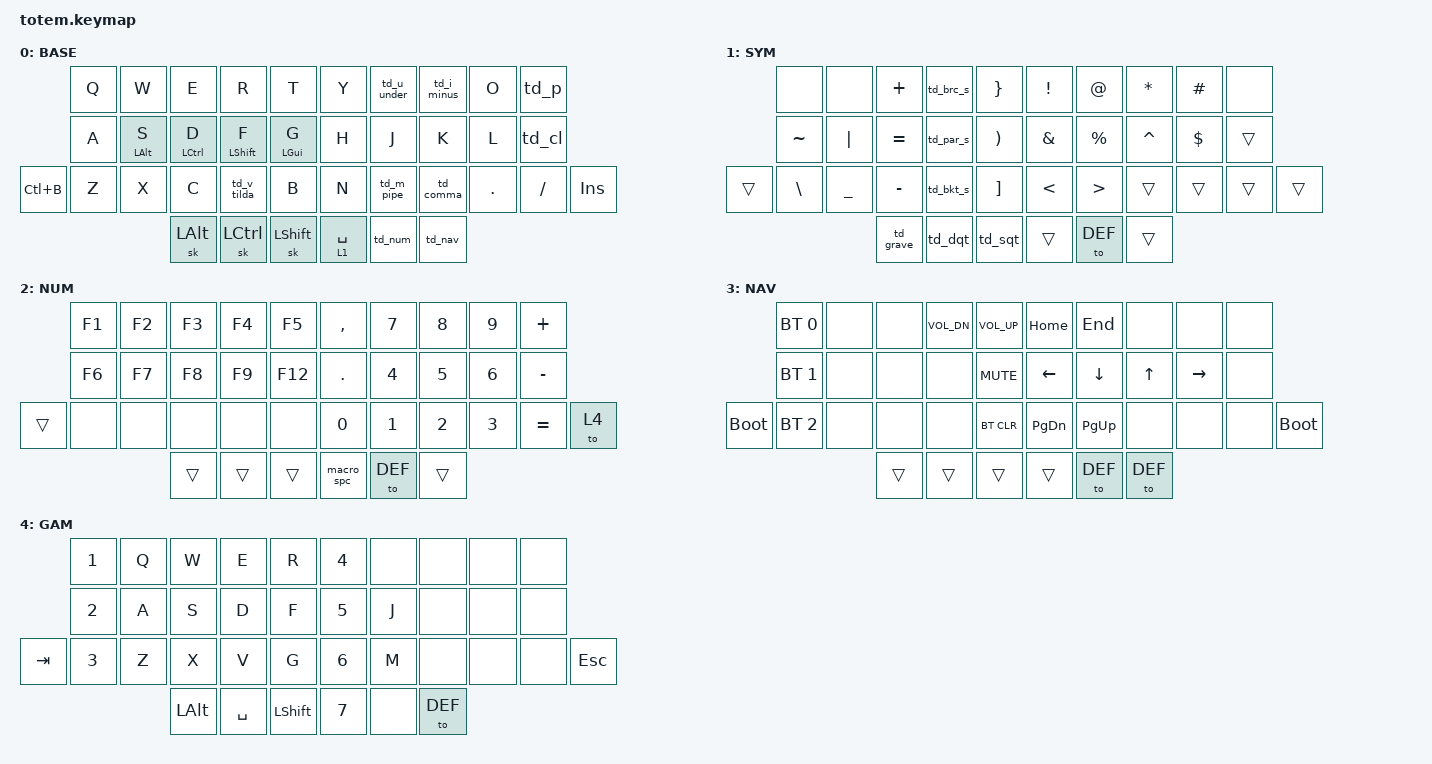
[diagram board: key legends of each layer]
//
//                                                        ▀▀▀▀▀     ▀▀▀▀▀          ▀▀█▀▀
//                                                        ▄▀▀▀▄  ▄  ▄▀▀▀▄  ▄  ▄▀▀▀▄  █  ▄▀▀▀▄
//                                                        █   █  █  █   █  █  █   █  █  █   █
//                                                         ▀▀▀   █   ▀▀▀   █   ▀▀▀   ▀   ▀▀▀
//                                                               █      ▄▄▄█▄▄▄    █   █  
//                                                               ▀      █  █  █     █▄█
//                                                             ▀▀▀▀▀    █  █  █      ▀
//                                                                      ▀  ▀  ▀
//
// ▄▄▄▄▄▄▄▄▄▄▄▄▄▄▄▄▄▄▄▄▄▄▄▄▄▄▄▄▄▄▄▄▄▄▄▄▄▄▄▄▄▄▄▄▄▄▄▄▄▄▄▄▄▄▄▄▄▄▄▄▄▄▄▄▄▄▄▄▄▄▄▄▄▄▄▄▄▄▄▄▄▄▄▄▄▄▄▄▄▄▄▄▄▄▄▄▄▄▄▄▄▄▄▄▄▄▄▄▄▄▄▄▄▄▄▄▄▄▄▄▄▄▄▄▄▄▄▄▄▄▄▄▄▄▄▄▄▄▄▄▄▄▄▄▄▄▄▄▄
       

#include <behaviors.dtsi>
#include <dt-bindings/zmk/keys.h>
#include <dt-bindings/zmk/bt.h>
#include <dt-bindings/zmk/outputs.h>

#define DEF 0
#define LWR  1
#define RSE  2
#define GAM  4

//&lt {
//    quick_tap_ms = <200>;
//};

&mt {
  quick-tap-ms = <100>;
  global-quick-tap;
  flavor = "tap-preferred";
  tapping-term-ms = <170>;
};

/ {
     combos {
        compatible = "zmk,combos";

//      |------------------------|------------------------|
//      | LEFT_HAND_KEYS         |        RIGHT_HAND_KEYS |
//      |                        |                        |
//      |     0  1  2  3  4      |       5  6  7  8  9    |
//      |    10 11 12 13 14      |      15 16 17 18 19    |
//      | 20 21 22 23 24 25      |      26 27 28 29 30 31 |
//      |          32 33 34      |      35 36 37          |
//      |------------------------|------------------------|

        // <jk>
        combo_bkspc {
            timeout-ms = <50>;
            key-positions = <16 17>;
            bindings = <&kp BACKSPACE>;
        };
        // <jm>
        combo_enter {
            timeout-ms = <50>;
            key-positions = <16 27>;
            bindings = <&macro_ent>;
        };
        // <df>
        combo_tab {
            timeout-ms = <50>;
            key-positions = <12 13>;
            bindings = <&macro_tab>;
        };
        // <fv>
        combo_esc {
            timeout-ms = <50>;
            key-positions = <13 24>;
            bindings = <&macro_esc>;
        };

        // , on <sd>
        // . on <kl>
        combo_comma {
            timeout-ms = <50>;
            key-positions = <11 12>;
            bindings = <&kp COMMA>;
        };
        combo_dot {
            timeout-ms = <50>;
            key-positions = <17 18>;
            bindings = <&kp DOT>;
        };

        // >> and << on <fg> and <hj>
        combo_shift_r {
            timeout-ms = <50>;
            key-positions = <13 14>;
            // bindings = <&macro_sft_r>;
            bindings = <&kp GT>;
        };
        combo_shift_l {
            timeout-ms = <50>;
            key-positions = <15 16>;
            // bindings = <&macro_sft_l>;
            bindings = <&kp LT>;
        };
    };

    macros {
        // EXPERIMENTAL
        macro_trans_kp: macro_trans_kp {
            compatible = "zmk,behavior-macro-one-param";
            #binding-cells = <1>;
            bindings
                = <&macro_param_1to1>, <&macro_tap &kp MACRO_PLACEHOLDER>;
        };
        macro_trans: macro_trans {
            compatible = "zmk,behavior-macro";
            #binding-cells = <0>;
            bindings
                = <&macro_tap &to DEF &trans>;
        };

        // BASE
        macro_def: macro_default_kp {
            compatible = "zmk,behavior-macro-one-param";
            #binding-cells = <1>;
            bindings
                = <&macro_param_1to1>
                , <&macro_tap &kp MACRO_PLACEHOLDER>
                , <&macro_tap &to DEF>
                ;
        };

        // FOR COMBOS
        macro_spc: macro_spc {
            compatible = "zmk,behavior-macro";
            #binding-cells = <0>;
            bindings
                = <&macro_tap &to DEF &kp SPACE>;
        };
        macro_ent: macro_enter {
            compatible = "zmk,behavior-macro";
            #binding-cells = <0>;
            bindings
                = <&macro_tap &to DEF &kp ENTER>;
        };
        macro_esc: macro_esc {
            compatible = "zmk,behavior-macro";
            #binding-cells = <0>;
            bindings
                = <&macro_tap &to DEF &kp ESC>;
        };
        macro_tab: macro_tab {
            compatible = "zmk,behavior-macro";
            #binding-cells = <0>;
            bindings
                = <&macro_def TAB>;
        };

        // for {} () ****...
        macro_dbl: macro_double_same_param {
            compatible = "zmk,behavior-macro-one-param";
            #binding-cells = <1>;
            bindings
                = <&macro_param_1to1>
                , <&macro_tap &kp MACRO_PLACEHOLDER>
                , <&macro_param_1to1>
                , <&macro_tap &kp MACRO_PLACEHOLDER>
                , <&macro_tap &kp LEFT>
                ;
        };
        macro_dbl_diff: macro_double_diff_params {
            compatible = "zmk,behavior-macro-two-param";
            #binding-cells = <2>;
            bindings
                = <&macro_param_1to1>
                , <&macro_tap &kp MACRO_PLACEHOLDER>
                , <&macro_param_2to1>
                , <&macro_tap &kp MACRO_PLACEHOLDER>
                , <&macro_tap &kp LEFT>
                ;
        };
        macro_quad: macro_quadro_same_param {
            compatible = "zmk,behavior-macro-one-param";
            #binding-cells = <1>;
            bindings
                = <&macro_param_1to1>
                , <&macro_press &kp MACRO_PLACEHOLDER>
                , <&macro_param_1to1>
                , <&macro_press &kp MACRO_PLACEHOLDER>
                , <&macro_param_1to1>
                , <&macro_press &kp MACRO_PLACEHOLDER>
                , <&macro_param_1to1>
                , <&macro_press &kp MACRO_PLACEHOLDER>
                , <&macro_tap &kp LEFT>
                , <&macro_tap &kp LEFT>
                ;
        };
        macro_trpl: macro_tripple_same_param {
            compatible = "zmk,behavior-macro-one-param";
            #binding-cells = <1>;
            bindings
                = <&macro_param_1to1>
                , <&macro_press &kp MACRO_PLACEHOLDER>
                , <&macro_param_1to1>
                , <&macro_press &kp MACRO_PLACEHOLDER>
                , <&macro_param_1to1>
                , <&macro_press &kp MACRO_PLACEHOLDER>
                , <&macro_param_1to1>
                , <&macro_press &kp MACRO_PLACEHOLDER>
                , <&macro_param_1to1>
                , <&macro_press &kp MACRO_PLACEHOLDER>
                , <&macro_param_1to1>
                , <&macro_press &kp MACRO_PLACEHOLDER>
                , <&macro_tap &kp LEFT>
                , <&macro_tap &kp LEFT>
                , <&macro_tap &kp LEFT>
                ;
        };

        // special
        macro_sft_l: macro_shift_left {
            compatible = "zmk,behavior-macro";
            #binding-cells = <0>;
            bindings
                = <&macro_tap &kp LT &kp LT>;
        };
        macro_sft_r: macro_shift_right {
            compatible = "zmk,behavior-macro";
            #binding-cells = <0>;
            bindings
                = <&macro_tap &kp GT &kp GT>;
        };
    };

    behaviors {
        // BASE

        // hold - some key
        // tap - some other key
        ht_s: hold_tap_simple {
            compatible = "zmk,behavior-hold-tap";
            #binding-cells = <2>;
            flavor = "hold-preferred";
            tapping-term-ms = <200>;
            bindings = <&kp>, <&kp>;
        };
        // hold - double key and place cursor between
        // tap - some key
        ht_dbl: hold_tap_double {
            compatible = "zmk,behavior-hold-tap";
            #binding-cells = <2>;
            flavor = "hold-preferred";
            tapping-term-ms = <200>;
            bindings = <&macro_dbl>, <&kp>;
        };
        // tap - sticky layer: active until other key is pressed
        // hold - momentary layer: active while being held
        ht_mo_sl: hold_tap_layers_mo_sl {
            compatible = "zmk,behavior-hold-tap";
            #binding-cells = <2>;
            flavor = "hold-preferred";
            tapping-term-ms = <50>;
            bindings = <&mo>, <&sl>;
        };

        // LAYERS

        // hold - sym
        // tap - sticky sym
        // doble-tap - toggle sym
        // tripple-tap - default layer
        td_num: tap_dance_num {
            compatible = "zmk,behavior-tap-dance";
            #binding-cells = <0>;
            tapping-term-ms = <100>;
            bindings = <&ht_mo_sl 2 2>, <&tog 2>, <&to DEF>;
        };
        // hold - nav
        // tap - sticky nav
        // doble-tap - toggle nav
        // tripple-tap - default layer
        td_nav: tap_dance_nav {
            compatible = "zmk,behavior-tap-dance";
            #binding-cells = <0>;
            tapping-term-ms = <100>;  // TODO check
            bindings = <&ht_mo_sl 3 3>, <&tog 3>, <&to DEF>;
        };

        // AUX tap dances
        td_cl: tap_dance_col {
            compatible = "zmk,behavior-tap-dance";
            #binding-cells = <0>;
            tapping-term-ms = <200>;
            bindings = <&kp SEMI>, <&kp COLON>, <&kp SQT>;  // for Э
        };
        td_p: tap_dance_p {
            compatible = "zmk,behavior-tap-dance";
            #binding-cells = <0>;
            tapping-term-ms = <200>;
            bindings = <&kp P>, <&kp LBKT>, <&kp RBKT>;  // for Х Ъ
        };
        td_0: tap_dance_0 {
            compatible = "zmk,behavior-tap-dance";
            #binding-cells = <0>;
            tapping-term-ms = <200>;
            bindings = <&kp N0>, <&kp COLON>, <&kp SEMI>;
        };

        // double quotes
        td_dqt: tap_dance_dqt {
            compatible = "zmk,behavior-tap-dance";
            #binding-cells = <0>;
            tapping-term-ms = <200>;
            bindings = <&kp DQT>, <&macro_dbl DQT>, <&macro_trpl DQT>;
        };
        td_grave: tap_dance_grave {
            compatible = "zmk,behavior-tap-dance";
            #binding-cells = <0>;
            tapping-term-ms = <200>;
            bindings = <&kp GRAVE>, <&macro_dbl GRAVE>, <&macro_trpl GRAVE>;
        };
        td_sqt: tap_dance_sqt {
            compatible = "zmk,behavior-tap-dance";
            #binding-cells = <0>;
            tapping-term-ms = <200>;
            bindings = <&kp SQT>, <&macro_dbl SQT>, <&macro_trpl SQT>;
        };
        td_tilda: tap_dance_tilda {
            compatible = "zmk,behavior-tap-dance";
            #binding-cells = <0>;
            tapping-term-ms = <200>;
            bindings = <&kp TILDE>, <&macro_quad TILDE>;
        };

        // combine two keys in one
        td_comma: tap_dance_comma {
            compatible = "zmk,behavior-tap-dance";
            #binding-cells = <0>;
            tapping-term-ms = <200>;
            bindings = <&kp COMMA>, <&kp BACKSLASH>;
        };
//      td_dot: tap_dance_dot {
//          compatible = "zmk,behavior-tap-dance";
//          #binding-cells = <0>;
//          tapping-term-ms = <200>;
//          bindings = <&kp DOT>, <&kp FSLH>;
//      };
        td_pipe: tap_dance_pipe {
            compatible = "zmk,behavior-tap-dance";
            #binding-cells = <0>;
            tapping-term-ms = <200>;
            bindings = <&kp PIPE>, <&kp QMARK>;
        };
//      td_fslh: tap_dance_fslh {
//          compatible = "zmk,behavior-tap-dance";
//          #binding-cells = <0>;
//          tapping-term-ms = <200>;
//          bindings = <&kp FSLH>, <&kp BSLH>;
//      };

        // TD on alpha keys
        td_i_minus: tap_dance_i_minus {
            compatible = "zmk,behavior-tap-dance";
            #binding-cells = <0>;
            tapping-term-ms = <300>;
            bindings = <&kp I>, <&kp MINUS>;
        };
        td_u_under: tap_dance_u_under {
            compatible = "zmk,behavior-tap-dance";
            #binding-cells = <0>;
            tapping-term-ms = <300>;
            bindings = <&kp U>, <&kp UNDER>;
        };
        td_m_pipe: tap_dance_m_pipe {
            compatible = "zmk,behavior-tap-dance";
            #binding-cells = <0>;
            tapping-term-ms = <300>;
            bindings = <&kp M>, <&kp PIPE>;
        };
        td_n_qmark: tap_dance_n_qmark {
            compatible = "zmk,behavior-tap-dance";
            #binding-cells = <0>;
            tapping-term-ms = <300>;
            bindings = <&kp N>, <&kp QMARK>;
        };
        td_v_tilda: tap_dance_v_tilda {
            compatible = "zmk,behavior-tap-dance";
            #binding-cells = <0>;
            tapping-term-ms = <300>;
            bindings = <&kp V>, <&kp TILDE>;
        };

        // tap dance brackets
        td_par_s: tap_dance_par_single {
            compatible = "zmk,behavior-tap-dance";
            #binding-cells = <0>;
            tapping-term-ms = <300>;
            bindings = <&kp LPAR>, <&macro_dbl_diff LPAR RPAR>, <&kp LPAR>;
        };
        td_bkt_s: tap_dance_bkt_single {
            compatible = "zmk,behavior-tap-dance";
            #binding-cells = <0>;
            tapping-term-ms = <300>;
            bindings = <&kp LBKT>, <&macro_dbl_diff LBKT RBKT>, <&kp LBKT>;
        };
        td_brc_s: tap_dance_brc_single {
            compatible = "zmk,behavior-tap-dance";
            #binding-cells = <0>;
            tapping-term-ms = <300>;
            bindings = <&kp LBRC>, <&macro_dbl_diff LBRC RBRC>, <&kp LBRC>;
        };

        // for Russian layout
        td_lrbkt: tap_dance_left_right_bkt {
            compatible = "zmk,behavior-tap-dance";
            #binding-cells = <0>;
            tapping-term-ms = <300>;
            bindings = <&kp LBKT>, <&kp RBKT>;
        };

    };

    keymap {
        compatible = "zmk,keymap";
// ▄▄▄▄▄▄▄▄▄▄▄▄▄▄▄▄▄▄▄▄▄▄▄▄▄▄▄▄▄▄▄▄▄▄▄▄▄▄▄▄▄▄▄▄▄▄▄▄▄▄▄▄▄▄▄▄▄▄▄▄▄▄▄▄▄▄▄▄▄▄▄▄▄▄▄▄▄▄▄▄▄▄▄▄▄▄▄▄▄▄▄▄▄▄▄▄▄▄▄▄▄▄▄▄▄▄▄▄▄▄▄▄▄▄▄▄▄▄▄▄▄▄▄▄▄▄▄▄▄▄▄▄▄▄▄▄▄▄▄▄▄▄▄▄▄▄▄▄▄

                base_layer {
// ┏━━━━━━━━━━━━━━━━━━━━━━━━━━━━━━━━━━━━━━━┓
label= "BASE"                              ;
// ┗━━━━━━━━━━━━━━━━━━━━━━━━━━━━━━━━━━━━━━━┛
//             ┏━━━━━━━━━━━┳━━━━━━━━━━━┳━━━━━━━━━━━┳━━━━━━━━━━━┳━━━━━━━━━━━┓   ┏━━━━━━━━━━━┳━━━━━━━━━━━┳━━━━━━━━━━━┳━━━━━━━━━━━┳━━━━━━━━━━━┓
//             ┃     Q     ┃     W     ┃     E     ┃     R     ┃     T     ┃   ┃     Y     ┃     U     ┃     I     ┃     O     ┃     P     ┃
//             ┣━━━━━━━━━━━╋━━━━━━━━━━━╋━━━━━━━━━━━╋━━━━━━━━━━━╋━━━━━━━━━━━┫   ┣━━━━━━━━━━━╋━━━━━━━━━━━╋━━━━━━━━━━━╋━━━━━━━━━━━╋━━━━━━━━━━━┫
//             ┃     A     ┃     S     ┃     D     ┃     F     ┃     G     ┃   ┃     H     ┃     J     ┃     K     ┃     L     ┃     ;     ┃
// ┏━━━━━━━━━━━╋━━━━━━━━━━━╋━━━━━━━━━━━╋━━━━━━━━━━━╋━━━━━━━━━━━╋━━━━━━━━━━━┫   ┣━━━━━━━━━━━╋━━━━━━━━━━━╋━━━━━━━━━━━╋━━━━━━━━━━━╋━━━━━━━━━━━╋━━━━━━━━━━━┓
// ┃   tmux    ┃     Z     ┃     X     ┃     C     ┃     V     ┃     B     ┃   ┃     N     ┃     M     ┃     ,     ┃     .     ┃     /     ┃  insert   ┃
// ┗━━━━━━━━━━━┻━━━━━━━━━━━┻━━━━━━━━━━━╋━━━━━━━━━━━╋━━━━━━━━━━━╋━━━━━━━━━━━┫   ┣━━━━━━━━━━━╋━━━━━━━━━━━╋━━━━━━━━━━━╋━━━━━━━━━━━┻━━━━━━━━━━━┻━━━━━━━━━━━┛
//                                     ┃    ALT    ┃    CTRL   ┃   SHIFT   ┃   ┃   SPACE   ┃   SYM     ┃   NAV     ┃
//                                     ┗━━━━━━━━━━━┻━━━━━━━━━━━┻━━━━━━━━━━━┛   ┗━━━━━━━━━━━┻━━━━━━━━━━━┻━━━━━━━━━━━┛
 bindings = <
// ╷           ╷           ╷           ╷           ╷           ╷           ╷   ╷           ╷           ╷           ╷           ╷           ╷           ╷

                &kp Q       &kp W       &kp E       &kp R       &kp T           &kp Y       &td_u_under &td_i_minus &kp O       &td_p    
                &kp A       &mt LALT S  &mt LCTRL D &mt LSHFT F &mt LGUI G      &kp H       &kp J       &kp K       &kp L       &td_cl    
    &kp LC(B)   &kp Z       &kp X       &kp C       &td_v_tilda &kp B           &kp N       &td_m_pipe  &td_comma   &kp DOT     &kp FSLH    &kp INSERT
                                        &sk LALT    &sk LCTRL   &sk LSHIFT      &lt 1 SPACE &td_num     &td_nav 
                        >;
                };

// ▄▄▄▄▄▄▄▄▄▄▄▄▄▄▄▄▄▄▄▄▄▄▄▄▄▄▄▄▄▄▄▄▄▄▄▄▄▄▄▄▄▄▄▄▄▄▄▄▄▄▄▄▄▄▄▄▄▄▄▄▄▄▄▄▄▄▄▄▄▄▄▄▄▄▄▄▄▄▄▄▄▄▄▄▄▄▄▄▄▄▄▄▄▄▄▄▄▄▄▄▄▄▄▄▄▄▄▄▄▄▄▄▄▄▄▄▄▄▄▄▄▄▄▄▄▄▄▄▄▄▄▄▄▄▄▄▄▄▄▄▄▄▄▄▄▄▄▄▄


                sym_layer {
// ┏━━━━━━━━━━━━━━━━━━━━━━━━━━━━━━━━━━━━━━━┓
label= "SYM"                               ;
// ┗━━━━━━━━━━━━━━━━━━━━━━━━━━━━━━━━━━━━━━━┛
//             ┏━━━━━━━━━━━┳━━━━━━━━━━━┳━━━━━━━━━━━┳━━━━━━━━━━━┳━━━━━━━━━━━┓               ┏━━━━━━━━━━━┳━━━━━━━━━━━┳━━━━━━━━━━━┳━━━━━━━━━━━┳━━━━━━━━━━━┓
//             ┃           ┃           ┃     +     ┃   { {}    ┃     }     ┃               ┃     !     ┃     @     ┃     *     ┃     #     ┃           ┃
//             ┣━━━━━━━━━━━╋━━━━━━━━━━━╋━━━━━━━━━━━╋━━━━━━━━━━━╋━━━━━━━━━━━┫               ┣━━━━━━━━━━━╋━━━━━━━━━━━╋━━━━━━━━━━━╋━━━━━━━━━━━╋━━━━━━━━━━━┫
//             ┃     ~     ┃     |     ┃     -     ┃   ( ()    ┃     )     ┃               ┃     &     ┃     %     ┃     ^     ┃     $     ┃     ;     ┃
// ┏━━━━━━━━━━━╋━━━━━━━━━━━╋━━━━━━━━━━━╋━━━━━━━━━━━╋━━━━━━━━━━━╋━━━━━━━━━━━┫               ┣━━━━━━━━━━━╋━━━━━━━━━━━╋━━━━━━━━━━━╋━━━━━━━━━━━╋━━━━━━━━━━━╋━━━━━━━━━━━┓
// ┃           ┃     \     ┃     _     ┃     =     ┃   [ []    ┃     ]     ┃               ┃     <     ┃     >     ┃     ,     ┃     .     ┃     /     ┃           ┃
// ┗━━━━━━━━━━━┻━━━━━━━━━━━┻━━━━━━━━━━━╋━━━━━━━━━━━╋━━━━━━━━━━━╋━━━━━━━━━━━┫               ┣━━━━━━━━━━━╋━━━━━━━━━━━╋━━━━━━━━━━━╋━━━━━━━━━━━┻━━━━━━━━━━━┻━━━━━━━━━━━┛
//                                     ┃     `     ┃     "     ┃     '     ┃               ┃    [[]]   ┃    DEF    ┃    NAV    ┃
//                                     ┗━━━━━━━━━━━┻━━━━━━━━━━━┻━━━━━━━━━━━┛               ┗━━━━━━━━━━━┻━━━━━━━━━━━┻━━━━━━━━━━━┛
 bindings = <
// ╷           ╷           ╷           ╷           ╷           ╷                           ╷           ╷           ╷           ╷           ╷           ╷           ╷

                &none       &none       &kp PLUS    &td_brc_s   &kp RBRC                    &kp EXCL    &kp AT_SIGN &kp ASTERISK &kp HASH     &none
                &kp TILDE   &kp PIPE    &kp EQUAL   &td_par_s   &kp RPAR                    &kp AMPS    &kp PERCENT &kp CARET    &kp DOLLAR   &trans
    &trans      &kp BSLH    &kp UNDER   &kp MINUS   &td_bkt_s   &kp RBKT                    &kp LT      &kp GT      &trans       &trans       &trans     &trans
                                        &td_grave   &td_dqt     &td_sqt                     &trans      &to DEF     &trans
                        >;
                };

// ▄▄▄▄▄▄▄▄▄▄▄▄▄▄▄▄▄▄▄▄▄▄▄▄▄▄▄▄▄▄▄▄▄▄▄▄▄▄▄▄▄▄▄▄▄▄▄▄▄▄▄▄▄▄▄▄▄▄▄▄▄▄▄▄▄▄▄▄▄▄▄▄▄▄▄▄▄▄▄▄▄▄▄▄▄▄▄▄▄▄▄▄▄▄▄▄▄▄▄▄▄▄▄▄▄▄▄▄▄▄▄▄▄▄▄▄▄▄▄▄▄▄▄▄▄▄▄▄▄▄▄▄▄▄▄▄▄▄▄▄▄▄▄▄▄▄▄▄▄


                num_layer {
// ┏━━━━━━━━━━━━━━━━━━━━━━━━━━━━━━━━━━━━━━━┓
label= "NUM"                               ;
// ┗━━━━━━━━━━━━━━━━━━━━━━━━━━━━━━━━━━━━━━━┛
//             ┏━━━━━━━━━━━┳━━━━━━━━━━━┳━━━━━━━━━━━┳━━━━━━━━━━━┳━━━━━━━━━━━┓   ┏━━━━━━━━━━━┳━━━━━━━━━━━┳━━━━━━━━━━━┳━━━━━━━━━━━┳━━━━━━━━━━━┓
//             ┃     F1    ┃    F2     ┃     F3    ┃    F4     ┃    F5     ┃   ┃     ,     ┃     7     ┃     8     ┃    9      ┃     +     ┃
//             ┣━━━━━━━━━━━╋━━━━━━━━━━━╋━━━━━━━━━━━╋━━━━━━━━━━━╋━━━━━━━━━━━┫   ┣━━━━━━━━━━━╋━━━━━━━━━━━╋━━━━━━━━━━━╋━━━━━━━━━━━╋━━━━━━━━━━━┫
//             ┃     F6    ┃    F7     ┃     F8    ┃    F9     ┃    F12    ┃   ┃     .     ┃     4     ┃     5     ┃    6      ┃     -     ┃
// ┏━━━━━━━━━━━╋━━━━━━━━━━━╋━━━━━━━━━━━╋━━━━━━━━━━━╋━━━━━━━━━━━╋━━━━━━━━━━━┫   ┣━━━━━━━━━━━╋━━━━━━━━━━━╋━━━━━━━━━━━╋━━━━━━━━━━━╋━━━━━━━━━━━╋━━━━━━━━━━━┓
// ┃           ┃           ┃           ┃           ┃           ┃           ┃   ┃     0     ┃     1     ┃     2     ┃    3      ┃     =     ┃    GAM    ┃
// ┗━━━━━━━━━━━┻━━━━━━━━━━━┻━━━━━━━━━━━╋━━━━━━━━━━━╋━━━━━━━━━━━╋━━━━━━━━━━━┫   ┣━━━━━━━━━━━╋━━━━━━━━━━━╋━━━━━━━━━━━╋━━━━━━━━━━━┻━━━━━━━━━━━┻━━━━━━━━━━━┛
//                                     ┃           ┃           ┃           ┃   ┃  !SPACE   ┃   [DEF]   ┃           ┃
//                                     ┗━━━━━━━━━━━┻━━━━━━━━━━━┻━━━━━━━━━━━┛   ┗━━━━━━━━━━━┻━━━━━━━━━━━┻━━━━━━━━━━━┛
 bindings = <
// ╷           ╷            ╷           ╷           ╷           ╷           ╷   ╷             ╷           ╷           ╷           ╷           ╷           ╷

                &kp F1        &kp F2      &kp F3      &kp F4      &kp F5          &kp COMMA     &kp N7      &kp N8     &kp N9      &kp PLUS      
                &kp F6        &kp F7      &kp F8      &kp F9      &kp F12         &kp DOT       &kp N4      &kp N5     &kp N6      &kp MINUS 
    &trans      &none         &none       &none       &none       &none           &kp N0        &kp N1      &kp N2     &kp N3      &kp EQUAL   &to 4
                                          &trans      &trans      &trans          &macro_spc    &to DEF     &trans      
                        >;
                };

// ▄▄▄▄▄▄▄▄▄▄▄▄▄▄▄▄▄▄▄▄▄▄▄▄▄▄▄▄▄▄▄▄▄▄▄▄▄▄▄▄▄▄▄▄▄▄▄▄▄▄▄▄▄▄▄▄▄▄▄▄▄▄▄▄▄▄▄▄▄▄▄▄▄▄▄▄▄▄▄▄▄▄▄▄▄▄▄▄▄▄▄▄▄▄▄▄▄▄▄▄▄▄▄▄▄▄▄▄▄▄▄▄▄▄▄▄▄▄▄▄▄▄▄▄▄▄▄▄▄▄▄▄▄▄▄▄▄▄▄▄▄▄▄▄▄▄▄▄▄


                nav_layer {
// ┏━━━━━━━━━━━━━━━━━━━━━━━━━━━━━━━━━━━━━━━┓
label= "NAV"                               ;
// ┗━━━━━━━━━━━━━━━━━━━━━━━━━━━━━━━━━━━━━━━┛
//             ┏━━━━━━━━━━━┳━━━━━━━━━━━┳━━━━━━━━━━━┳━━━━━━━━━━━┳━━━━━━━━━━━┓   ┏━━━━━━━━━━━┳━━━━━━━━━━━┳━━━━━━━━━━━┳━━━━━━━━━━━┳━━━━━━━━━━━┓
//             ┃    BT0    ┃           ┃           ┃   VOL -   ┃   VOL +   ┃   ┃   HOME    ┃    END    ┃           ┃           ┃           ┃
//             ┣━━━━━━━━━━━╋━━━━━━━━━━━╋━━━━━━━━━━━╋━━━━━━━━━━━╋━━━━━━━━━━━┫   ┣━━━━━━━━━━━╋━━━━━━━━━━━╋━━━━━━━━━━━╋━━━━━━━━━━━╋━━━━━━━━━━━┫
//             ┃    BT1    ┃           ┃           ┃           ┃   MUTE    ┃   ┃   LEFT    ┃   DOWN    ┃    UP     ┃   RIGHT   ┃           ┃
// ┏━━━━━━━━━━━╋━━━━━━━━━━━╋━━━━━━━━━━━╋━━━━━━━━━━━╋━━━━━━━━━━━╋━━━━━━━━━━━┫   ┣━━━━━━━━━━━╋━━━━━━━━━━━╋━━━━━━━━━━━╋━━━━━━━━━━━╋━━━━━━━━━━━╋━━━━━━━━━━━┓
// ┃  BOOTLDR  ┃    BT2    ┃           ┃           ┃           ┃  BT_CLR   ┃   ┃  PG_DWN   ┃   PG_UP   ┃           ┃           ┃           ┃  BOOTLDR  ┃
// ┗━━━━━━━━━━━┻━━━━━━━━━━━┻━━━━━━━━━━━╋━━━━━━━━━━━╋━━━━━━━━━━━╋━━━━━━━━━━━┫   ┣━━━━━━━━━━━╋━━━━━━━━━━━╋━━━━━━━━━━━╋━━━━━━━━━━━┻━━━━━━━━━━━┻━━━━━━━━━━━┛
//                                     ┃           ┃           ┃           ┃   ┃           ┃   DEF     ┃    DEF    ┃
//                                     ┗━━━━━━━━━━━┻━━━━━━━━━━━┻━━━━━━━━━━━┛   ┗━━━━━━━━━━━┻━━━━━━━━━━━┻━━━━━━━━━━━┛
 bindings = <
// ╷           ╷            ╷           ╷           ╷           ╷           ╷   ╷             ╷           ╷           ╷           ╷           ╷           ╷

                &bt BT_SEL 0  &none       &none       &kp K_VOL_DN &kp K_VOL_UP    &kp HOME      &kp END     &none      &none       &none         
                &bt BT_SEL 1  &none       &none       &none        &kp K_MUTE      &kp LEFT      &kp DOWN    &kp UP     &kp RIGHT   &none     
    &bootloader &bt BT_SEL 2  &none       &none       &none        &bt BT_CLR      &kp PAGE_DOWN &kp PAGE_UP &none      &none       &none      &bootloader    
                                          &trans      &trans       &trans          &trans        &to DEF     &to DEF     
                        >;
                };

// ▄▄▄▄▄▄▄▄▄▄▄▄▄▄▄▄▄▄▄▄▄▄▄▄▄▄▄▄▄▄▄▄▄▄▄▄▄▄▄▄▄▄▄▄▄▄▄▄▄▄▄▄▄▄▄▄▄▄▄▄▄▄▄▄▄▄▄▄▄▄▄▄▄▄▄▄▄▄▄▄▄▄▄▄▄▄▄▄▄▄▄▄▄▄▄▄▄▄▄▄▄▄▄▄▄▄▄▄▄▄▄▄▄▄▄▄▄▄▄▄▄▄▄▄▄▄▄▄▄▄▄▄▄▄▄▄▄▄▄▄▄▄▄▄▄▄▄▄▄


                gam_layer {
// ┏━━━━━━━━━━━━━━━━━━━━━━━━━━━━━━━━━━━━━━━┓
label= "GAM"                               ;
// ┗━━━━━━━━━━━━━━━━━━━━━━━━━━━━━━━━━━━━━━━┛
//             ┏━━━━━━━━━━━┳━━━━━━━━━━━┳━━━━━━━━━━━┳━━━━━━━━━━━┳━━━━━━━━━━━┓     ┏━━━━━━━━━━━┳━━━━━━━━━━━┳━━━━━━━━━━━┳━━━━━━━━━━━┳━━━━━━━━━━━┓
//             ┃     1     ┃     Q     ┃     W     ┃     E     ┃     R     ┃     ┃     4     ┃           ┃           ┃           ┃           ┃
//             ┣━━━━━━━━━━━╋━━━━━━━━━━━╋━━━━━━━━━━━╋━━━━━━━━━━━╋━━━━━━━━━━━┫     ┣━━━━━━━━━━━╋━━━━━━━━━━━╋━━━━━━━━━━━╋━━━━━━━━━━━╋━━━━━━━━━━━┫
//             ┃     2     ┃     A     ┃     S     ┃     D     ┃     F     ┃     ┃     5     ┃     J     ┃           ┃           ┃           ┃
// ┏━━━━━━━━━━━╋━━━━━━━━━━━╋━━━━━━━━━━━╋━━━━━━━━━━━╋━━━━━━━━━━━╋━━━━━━━━━━━┫     ┣━━━━━━━━━━━╋━━━━━━━━━━━╋━━━━━━━━━━━╋━━━━━━━━━━━╋━━━━━━━━━━━╋━━━━━━━━━━━┓
// ┃    Tab    ┃     3     ┃     Z     ┃     X     ┃     V     ┃     G     ┃     ┃     6     ┃     M     ┃           ┃           ┃           ┃    ESC    ┃
// ┗━━━━━━━━━━━┻━━━━━━━━━━━┻━━━━━━━━━━━╋━━━━━━━━━━━╋━━━━━━━━━━━╋━━━━━━━━━━━┫     ┣━━━━━━━━━━━╋━━━━━━━━━━━╋━━━━━━━━━━━╋━━━━━━━━━━━┻━━━━━━━━━━━┻━━━━━━━━━━━┛
//                                     ┃    Alt    ┃   Space   ┃   Shift   ┃     ┃     7     ┃           ┃    DEF    ┃
//                                     ┗━━━━━━━━━━━┻━━━━━━━━━━━┻━━━━━━━━━━━┛     ┗━━━━━━━━━━━┻━━━━━━━━━━━┻━━━━━━━━━━━┛
 bindings = <
// ╷           ╷            ╷           ╷           ╷           ╷           ╷     ╷             ╷           ╷           ╷           ╷           ╷           ╷

                &kp N1        &kp Q       &kp W       &kp E        &kp R             &kp N4        &none       &none      &none       &none         
                &kp N2        &kp A       &kp S       &kp D        &kp F             &kp N5        &kp J       &none      &none       &none     
    &kp TAB     &kp N3        &kp Z       &kp X       &kp V        &kp G             &kp N6        &kp M       &none      &none       &none      &kp ESC        
                                          &kp LALT    &kp SPACE    &kp LSHIFT        &kp N7        &none       &to DEF     
                        >;
                };

// ▄▄▄▄▄▄▄▄▄▄▄▄▄▄▄▄▄▄▄▄▄▄▄▄▄▄▄▄▄▄▄▄▄▄▄▄▄▄▄▄▄▄▄▄▄▄▄▄▄▄▄▄▄▄▄▄▄▄▄▄▄▄▄▄▄▄▄▄▄▄▄▄▄▄▄▄▄▄▄▄▄▄▄▄▄▄▄▄▄▄▄▄▄▄▄▄▄▄▄▄▄▄▄▄▄▄▄▄▄▄▄▄▄▄▄▄▄▄▄▄▄▄▄▄▄▄▄▄▄▄▄▄▄▄▄▄▄▄▄▄▄▄▄▄▄▄▄▄▄

    };
};
